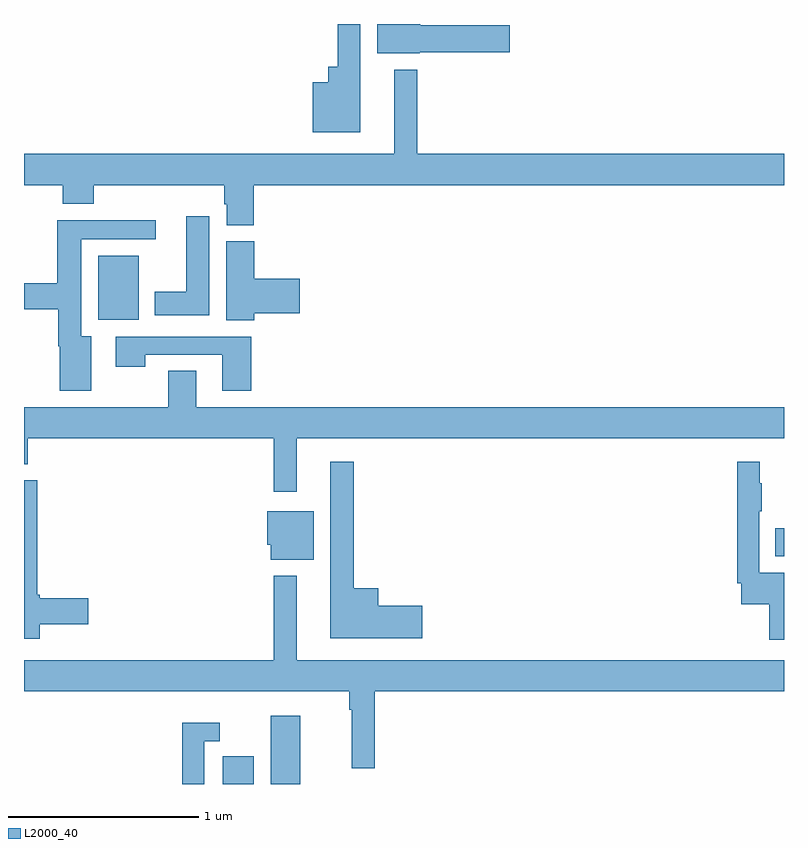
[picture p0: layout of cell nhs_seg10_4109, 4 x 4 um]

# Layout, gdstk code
import gdstk
lib = gdstk.Library(unit=1e-6, precision=1e-09)
def R(c, l, rs):  # rectangles x0, y0, x1, y1
    for r in rs: c.add(gdstk.rectangle(r[:2], r[2:], *l))
def P(c, l, *ps):  # polygons
    for p in ps: c.add(gdstk.Polygon(p, *l))
L2000_40 = (2000, 40)

nhs_seg10_4109 = lib.new_cell('nhs_seg10_4109')
R(nhs_seg10_4109, L2000_40, [(340.046,1294.5,340.21,1294.645), (340.298,1294.5,340.453,1294.858), (342.955,1295.699,343,1295.847), (339.392,1296.944,339.604,1297.279)])
P(nhs_seg10_4109, L2000_40, [(340.771,1298.5),(340.65,1298.5),(340.65,1298.275),(340.601,1298.275),(340.601,1298.194),(340.52,1298.194),(340.52,1297.931),(340.771,1297.931)],
  [(341.082,1298.351),(341.557,1298.351),(341.557,1298.493),(341.086,1298.493),(341.086,1298.5),(340.859,1298.5),(340.859,1298.345),(341.082,1298.345)],
  [(340.208,1297.652),(343,1297.652),(343,1297.816),(341.071,1297.816),(341.071,1298.26),(340.949,1298.26),(340.949,1297.816),(339,1297.816),(339,1297.652),(339.203,1297.652),(339.203,1297.553),(339.368,1297.553),(339.368,1297.652),(340.055,1297.652),(340.055,1297.551),(340.067,1297.551),(340.067,1297.441),(340.208,1297.441)],
  [(339.976,1297.489),(339.854,1297.489),(339.854,1297.09),(339.689,1297.09),(339.689,1296.968),(339.976,1296.968)],
  [(339.355,1296.856),(339.301,1296.856),(339.301,1297.368),(339.694,1297.368),(339.694,1297.466),(339.176,1297.466),(339.176,1297.136),(339,1297.136),(339,1297),(339.181,1297),(339.181,1296.803),(339.188,1296.803),(339.188,1296.57),(339.355,1296.57)],
  [(340.211,1296.977),(340.45,1296.977),(340.45,1297.16),(340.211,1297.16),(340.211,1297.356),(340.064,1297.356),(340.064,1296.94),(340.211,1296.94)],
  [(340.196,1296.855),(339.483,1296.855),(339.483,1296.696),(339.639,1296.696),(339.639,1296.759),(340.043,1296.759),(340.043,1296.57),(340.196,1296.57)],
  [(340.435,1296.32),(343,1296.32),(343,1296.484),(339.907,1296.484),(339.907,1296.674),(339.76,1296.674),(339.76,1296.484),(339,1296.484),(339,1296.184),(339.02,1296.184),(339.02,1296.32),(340.314,1296.32),(340.314,1296.039),(340.435,1296.039)],
  [(341.095,1295.438),(340.864,1295.438),(340.864,1295.53),(340.735,1295.53),(340.735,1296.196),(340.613,1296.196),(340.613,1295.267),(341.095,1295.267)],
  [(343,1295.611),(342.87,1295.611),(342.87,1295.935),(342.883,1295.935),(342.883,1296.083),(342.872,1296.083),(342.872,1296.196),(342.754,1296.196),(342.754,1295.557),(342.774,1295.557),(342.774,1295.446),(342.923,1295.446),(342.923,1295.259),(343,1295.259)],
  [(339.084,1295.342),(339.337,1295.342),(339.337,1295.477),(339.084,1295.477),(339.084,1295.495),(339.071,1295.495),(339.071,1296.099),(339,1296.099),(339,1295.264),(339.084,1295.264)],
  [(340.525,1295.935),(340.28,1295.935),(340.28,1295.76),(340.298,1295.76),(340.298,1295.681),(340.525,1295.681)],
  [(340.847,1294.988),(343,1294.988),(343,1295.152),(340.435,1295.152),(340.435,1295.596),(340.314,1295.596),(340.314,1295.152),(339,1295.152),(339,1294.988),(340.711,1294.988),(340.711,1294.892),(340.726,1294.892),(340.726,1294.584),(340.847,1294.584)],
  [(339.948,1294.725),(340.03,1294.725),(340.03,1294.822),(339.832,1294.822),(339.832,1294.5),(339.948,1294.5)])

lib.write_gds('nhs_seg10_4109.gds')
